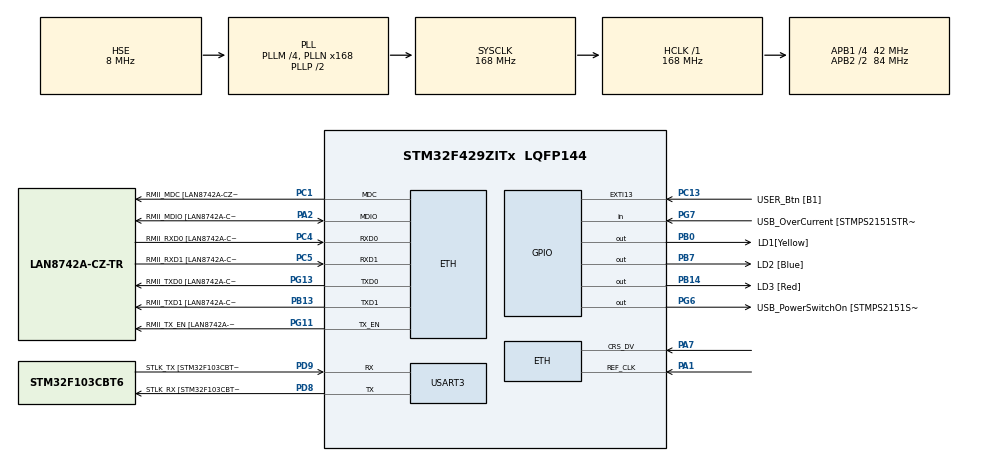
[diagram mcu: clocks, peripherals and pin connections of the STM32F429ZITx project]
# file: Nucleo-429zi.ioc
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ETH.MACAddr=00\:80\:E1\:00\:00\:AA
ETH.MediaInterface=HAL_ETH_RMII_MODE
FREERTOS.Tasks01=defaultTask,24,256,StartDefaultTask,Default,NULL,Dynamic,NULL,NULL;myTask02,8,256,StartTask02,Default,NULL,Dynamic,NULL,NULL
FREERTOS.Timers01=myTimer01,Callback01,osTimerPeriodic,Default,NULL,Dynamic,NULL
FREERTOS.configMINIMAL_STACK_SIZE=256
FREERTOS.configTOTAL_HEAP_SIZE=32768
FREERTOS.configUSE_NEWLIB_REENTRANT=1
LWIP.BSP.number=1
LWIP.CMSIS_VERSION-Enabled=1
LWIP.Version=v2.1.2_Cube
LWIP0.BSP.STBoard=false
LWIP0.BSP.api=BSP_COMPONENT_DRIVER
LWIP0.BSP.component=LAN8742
LWIP0.BSP.instance=LAN8742
LWIP0.BSP.name=Driver_PHY
LWIP0.BSP.semaphore=S_LAN8742
LWIP0.BSP.solution=LAN8742
Mcu.Family=STM32F4
Mcu.Name=STM32F429ZITx
Mcu.Package=LQFP144
NVIC.ETH_IRQn=true\:5\:0\:false\:false\:true\:true\:false\:true\:true
NVIC.PriorityGroup=NVIC_PRIORITYGROUP_4
NVIC.TIM6_DAC_IRQn=true\:15\:0\:false\:false\:true\:false\:false\:true\:true
NVIC.TimeBase=TIM6_DAC_IRQn
NVIC.TimeBaseIP=TIM6
PA1.Mode=RMII
PA1.Signal=ETH_REF_CLK
PA13.GPIO_Label=TMS
PA13.Mode=Trace_Asynchronous_SW
PA13.Signal=SYS_JTMS-SWDIO
PA14.GPIO_Label=TCK
PA14.Mode=Trace_Asynchronous_SW
PA14.Signal=SYS_JTCK-SWCLK
PA2.GPIO_Label=RMII_MDIO [LAN8742A-CZ-TR_MDIO]
PA2.Mode=RMII
PA2.Signal=ETH_MDIO
PA7.Mode=RMII
PA7.Signal=ETH_CRS_DV
PB0.GPIO_Label=LD1[Yellow]
PB0.Signal=GPIO_Output
PB13.GPIO_Label=RMII_TXD1 [LAN8742A-CZ-TR_TXD1]
PB13.Mode=RMII
PB13.Signal=ETH_TXD1
PB14.GPIO_Label=LD3 [Red]
PB14.Signal=GPIO_Output
PB3.Mode=Trace_Asynchronous_SW
PB3.Signal=SYS_JTDO-SWO
PB7.GPIO_Label=LD2 [Blue]
PB7.Signal=GPIO_Output
PC1.GPIO_Label=RMII_MDC [LAN8742A-CZ-TR_MDC]
PC1.Mode=RMII
PC1.Signal=ETH_MDC
PC13.GPIO_Label=USER_Btn [B1]
PC13.Signal=GPXTI13
PC14/OSC32_IN.Mode=LSE-External-Oscillator
PC14/OSC32_IN.Signal=RCC_OSC32_IN
PC15/OSC32_OUT.Mode=LSE-External-Oscillator
PC15/OSC32_OUT.Signal=RCC_OSC32_OUT
PC4.GPIO_Label=RMII_RXD0 [LAN8742A-CZ-TR_RXD0]
PC4.Mode=RMII
PC4.Signal=ETH_RXD0
PC5.GPIO_Label=RMII_RXD1 [LAN8742A-CZ-TR_RXD1]
PC5.Mode=RMII
PC5.Signal=ETH_RXD1
PD8.GPIO_Label=STLK_RX [STM32F103CBT6_PA3]
PD8.Mode=Asynchronous
PD8.Signal=USART3_TX
PD9.GPIO_Label=STLK_TX [STM32F103CBT6_PA2]
PD9.Mode=Asynchronous
PD9.Signal=USART3_RX
PG11.GPIO_Label=RMII_TX_EN [LAN8742A-CZ-TR_TXEN]
PG11.Mode=RMII
PG11.Signal=ETH_TX_EN
PG13.GPIO_Label=RMII_TXD0 [LAN8742A-CZ-TR_TXD0]
PG13.Mode=RMII
PG13.Signal=ETH_TXD0
PG6.GPIO_Label=USB_PowerSwitchOn [STMPS2151STR_EN]
PG6.Signal=GPIO_Output
PG7.GPIO_Label=USB_OverCurrent [STMPS2151STR_FAULT]
PG7.Signal=GPIO_Input
PH0/OSC_IN.GPIO_Label=MCO [STM32F103CBT6_PA8]
PH0/OSC_IN.Mode=HSE-External-Clock-Source
PH0/OSC_IN.Signal=RCC_OSC_IN
PH1/OSC_OUT.Mode=HSE-External-Clock-Source
PH1/OSC_OUT.Signal=RCC_OSC_OUT
ProjectManager.HeapSize=0x200
ProjectManager.StackSize=0x400
ProjectManager.TargetToolchain=STM32CubeIDE
RCC.48MHZClocksFreq_Value=48000000
RCC.AHBFreq_Value=168000000
RCC.APB1CLKDivider=RCC_HCLK_DIV4
RCC.APB1Freq_Value=42000000
RCC.APB1TimFreq_Value=84000000
RCC.APB2CLKDivider=RCC_HCLK_DIV2
RCC.APB2Freq_Value=84000000
RCC.APB2TimCLKDivider=2
RCC.APB2TimFreq_Value=168000000
RCC.CortexFreq_Value=168000000
RCC.HCLKFreq_Value=168000000
RCC.HSE_VALUE=8000000
RCC.HSI_VALUE=16000000
RCC.PLLM=4
RCC.PLLMUL=RCC_PLL_MUL9
RCC.PLLN=168
RCC.PLLQ=7
RCC.PLLSourceVirtual=RCC_PLLSOURCE_HSE
RCC.PRESCALERUSB=RCC_USBCLKSOURCE_PLL_DIV1_5
RCC.SYSCLKFreq_VALUE=168000000
RCC.SYSCLKSource=RCC_SYSCLKSOURCE_PLLCLK
RCC.SYSCLKSourceVirtual=RCC_SYSCLKSOURCE_PLLCLK
RCC.USBFreq_Value=48000000
RCC.VCOOutputFreq_Value=336000000
USART3.VirtualMode=VM_ASYNC
VP_FREERTOS_VS_CMSIS_V2.Mode=CMSIS_V2
VP_LWIP_VS_Enabled.Mode=Enabled
VP_SYS_VS_tim6.Mode=TIM6
board=NUCLEO-F429ZI

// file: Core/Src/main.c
/* USER CODE BEGIN Header */
/**
  ******************************************************************************
  * @file           : main.c
  * @brief          : Main program body
  ******************************************************************************
  * @attention
  *
  * Copyright (c) 2024 STMicroelectronics.
  * All rights reserved.
  *
  * This software is licensed under terms that can be found in the LICENSE file
  * in the root directory of this software component.
  * If no LICENSE file comes with this software, it is provided AS-IS.
  *
  ******************************************************************************
  */
/* USER CODE END Header */
#include "main.h"
#include "cmsis_os.h"
#include "lwip.h"
#include "usart.h"
#include "gpio.h"

/* USER CODE BEGIN Includes */
#include "ethernetif.h"
#include "netif.h"
#include "lwip/icmp.h"
#include <stdio.h>

/* USER CODE END Includes */

/* USER CODE BEGIN PD */
#ifdef __GNUC__
#define PUTCHAR_PROTOTYPE int __io_putchar(int ch)
#else
#define PUTCHAR_PROTOTYPE int fputc(int ch, FILE *f)
#endif

PUTCHAR_PROTOTYPE
{
  HAL_UART_Transmit(&huart3, (uint8_t *)&ch, 1, HAL_MAX_DELAY);
  return ch;
}

/* USER CODE END PD */

void SystemClock_Config(void);
void MX_FREERTOS_Init(void);

/* USER CODE BEGIN 0 */
// Global variable for network interface
extern struct netif gnetif;
/* USER CODE END 0 */

int main(void)
{

  /* MCU Configuration--------------------------------------------------------*/

  /* Reset of all peripherals, Initializes the Flash interface and the Systick. */
  HAL_Init();

  /* Configure the system clock */
  SystemClock_Config();

  /* Initialize all configured peripherals */
  MX_GPIO_Init();
  MX_USART3_UART_Init();

  /* Init scheduler */
  osKernelInitialize();

  /* Call init function for freertos objects (in cmsis_os2.c) */
  MX_FREERTOS_Init();

  /* Start scheduler */
  osKernelStart();

  /* We should never get here as control is now taken by the scheduler */

  /* Infinite loop */
  /* USER CODE BEGIN WHILE */
  while (1)
  {
	  // Turn on LD1 (PB0)
	      //HAL_GPIO_WritePin(GPIOB, LD1_Pin, GPIO_PIN_SET);
//	      HAL_GPIO_WritePin(GPIOB, LD2_Pin, GPIO_PIN_SET);
//	      HAL_GPIO_WritePin(GPIOB, LD3_Pin, GPIO_PIN_SET);
//	      HAL_Delay(500); // Delay for 500 milliseconds
//
//	      // Turn off LD1 (PB0)
//	      //HAL_GPIO_WritePin(GPIOB, LD1_Pin, GPIO_PIN_RESET);
//	      HAL_GPIO_WritePin(GPIOB, LD2_Pin, GPIO_PIN_RESET);
//	      HAL_GPIO_WritePin(GPIOB, LD3_Pin, GPIO_PIN_RESET);
//	      HAL_Delay(500); // Delay for 500 milliseconds

	  //MX_LWIP_Process();
	  //if (dhcp_supplied_address(&gnetif)) {
		  	  	  //HAL_GPIO_WritePin(GPIOB, LD2_Pin, GPIO_PIN_SET);
	              //printf("DHCP IP Address Assigned: %s\n", ip4addr_ntoa(netif_ip4_addr(&gnetif)));
	  //        }

	  //HAL_GPIO_TogglePin(GPIOB, LD1_Pin);
	  //osDelay(500);

    /* USER CODE END WHILE */

  }
}

void SystemClock_Config(void)
{
  RCC_OscInitTypeDef RCC_OscInitStruct = {0};
  RCC_ClkInitTypeDef RCC_ClkInitStruct = {0};

  /** Configure the main internal regulator output voltage
  */
  __HAL_RCC_PWR_CLK_ENABLE();
  __HAL_PWR_VOLTAGESCALING_CONFIG(PWR_REGULATOR_VOLTAGE_SCALE1);

  /** Initializes the RCC Oscillators according to the specified parameters
  * in the RCC_OscInitTypeDef structure.
  */
  RCC_OscInitStruct.OscillatorType = RCC_OSCILLATORTYPE_HSE;
  RCC_OscInitStruct.HSEState = RCC_HSE_BYPASS;
  RCC_OscInitStruct.PLL.PLLState = RCC_PLL_ON;
  RCC_OscInitStruct.PLL.PLLSource = RCC_PLLSOURCE_HSE;
  RCC_OscInitStruct.PLL.PLLM = 4;
  RCC_OscInitStruct.PLL.PLLN = 168;
  RCC_OscInitStruct.PLL.PLLP = RCC_PLLP_DIV2;
  RCC_OscInitStruct.PLL.PLLQ = 7;
  if (HAL_RCC_OscConfig(&RCC_OscInitStruct) != HAL_OK)
  {
    Error_Handler();
  }

  /** Initializes the CPU, AHB and APB buses clocks
  */
  RCC_ClkInitStruct.ClockType = RCC_CLOCKTYPE_HCLK|RCC_CLOCKTYPE_SYSCLK
                              |RCC_CLOCKTYPE_PCLK1|RCC_CLOCKTYPE_PCLK2;
  RCC_ClkInitStruct.SYSCLKSource = RCC_SYSCLKSOURCE_PLLCLK;
  RCC_ClkInitStruct.AHBCLKDivider = RCC_SYSCLK_DIV1;
  RCC_ClkInitStruct.APB1CLKDivider = RCC_HCLK_DIV4;
  RCC_ClkInitStruct.APB2CLKDivider = RCC_HCLK_DIV2;

  if (HAL_RCC_ClockConfig(&RCC_ClkInitStruct, FLASH_LATENCY_5) != HAL_OK)
  {
    Error_Handler();
  }
}

void HAL_TIM_PeriodElapsedCallback(TIM_HandleTypeDef *htim)
{
  if (htim->Instance == TIM6) {
    HAL_IncTick();
  }
}

void Error_Handler(void)
{
  __disable_irq();
  while (1)
  {
  }
}

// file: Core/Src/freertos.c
/* USER CODE BEGIN Header */
/**
  ******************************************************************************
  * File Name          : freertos.c
  * Description        : Code for freertos applications
  ******************************************************************************
  * @attention
  *
  * Copyright (c) 2024 STMicroelectronics.
  * All rights reserved.
  *
  * This software is licensed under terms that can be found in the LICENSE file
  * in the root directory of this software component.
  * If no LICENSE file comes with this software, it is provided AS-IS.
  *
  ******************************************************************************
  */
/* USER CODE END Header */

#include "FreeRTOS.h"
#include "task.h"
#include "main.h"
#include "cmsis_os.h"

/* USER CODE BEGIN Includes */
#include "lwip.h"
#include "usart.h"
#include <stdio.h>
#include "lwip/api.h"
#include "lwip/sys.h"
#include "lwip/netdb.h"
#include "lwip/sockets.h"
#include "lwip/inet.h"
#include "string.h"
extern struct netif gnetif;
/* USER CODE END Includes */

/* USER CODE BEGIN PD */
#define SERVER_IP   "192.168.0.27"  // Replace with your server's IP address
#define SERVER_PORT 6000             // Replace with your server's port
/* USER CODE END PD */

/* Definitions for defaultTask */
osThreadId_t defaultTaskHandle;
const osThreadAttr_t defaultTask_attributes = {
  .name = "defaultTask",
  .stack_size = 256 * 4,
  .priority = (osPriority_t) osPriorityNormal,
};
/* Definitions for myTask02 */
osThreadId_t myTask02Handle;
const osThreadAttr_t myTask02_attributes = {
  .name = "myTask02",
  .stack_size = 256 * 4,
  .priority = (osPriority_t) osPriorityLow,
};
/* Definitions for myTimer01 */
osTimerId_t myTimer01Handle;
const osTimerAttr_t myTimer01_attributes = {
  .name = "myTimer01"
};

/* USER CODE BEGIN FunctionPrototypes */
void tcp_client_task(void* argument);

/* USER CODE END FunctionPrototypes */

void StartDefaultTask(void *argument);
void StartTask02(void *argument);
void Callback01(void *argument);

extern void MX_LWIP_Init(void);
void MX_FREERTOS_Init(void); /* (MISRA C 2004 rule 8.1) */

void MX_FREERTOS_Init(void) {

  /* Create the timer(s) */
  /* creation of myTimer01 */
  myTimer01Handle = osTimerNew(Callback01, osTimerPeriodic, NULL, &myTimer01_attributes);

  /* USER CODE BEGIN RTOS_TIMERS */
  /* start timers, add new ones, ... */
  if (osTimerStart(myTimer01Handle, 1000) != osOK) {
          // Handle error in starting the timer
          printf("Failed to start timer\n");
          return;
      }
  /* USER CODE END RTOS_TIMERS */

  /* Create the thread(s) */
  /* creation of defaultTask */
  defaultTaskHandle = osThreadNew(StartDefaultTask, NULL, &defaultTask_attributes);

  /* creation of myTask02 */
  myTask02Handle = osThreadNew(StartTask02, NULL, &myTask02_attributes);

}

void StartDefaultTask(void *argument)
{
  /* init code for LWIP */
  MX_LWIP_Init();
  /* USER CODE BEGIN StartDefaultTask */
  osDelay(5000);

  printf("before\n");
    //tcp_client_task((void*)argument);

  /* Infinite loop */
  for(;;)
  {
	//ethernetif_input(&gnetif);
	//sys_check_timeouts();
	  HAL_GPIO_TogglePin(GPIOB, LD1_Pin);
	  //printf("StartDefaultTask\n");
	  osDelay(1000);
  }
  /* USER CODE END StartDefaultTask */
}

void StartTask02(void *argument)
{
  /* USER CODE BEGIN StartTask02 */
  /* Infinite loop */
  for(;;)
  {
	  HAL_GPIO_TogglePin(GPIOB, LD2_Pin);
	  osDelay(500);

  }
  /* USER CODE END StartTask02 */
}

/* Callback01 function */
void Callback01(void *argument)
{
  /* USER CODE BEGIN Callback01 */
	HAL_GPIO_TogglePin(LD3_GPIO_Port, LD3_Pin);
  /* USER CODE END Callback01 */
}

/* USER CODE BEGIN Application */
void tcp_client_task(void *arg) {

	int sock;
	    struct sockaddr_in server_addr;
	    char message[] = "Hello from STM32";
	    char buffer[1024];
	    int bytes_received;

	    // Create socket
	    printf("sock = socket\n");
	    sock = socket(AF_INET, SOCK_STREAM, 0);
	    if (sock < 0) {
	        printf("Failed to create socket\n");
	        vTaskDelete(NULL);
	        return;
	    }
	    printf("memset\n");
	    // Set up the server address structure
		memset(&server_addr, 0, sizeof(server_addr));
		server_addr.sin_family = AF_INET;
		server_addr.sin_port = htons(SERVER_PORT);
	    if (!inet_aton(SERVER_IP, &server_addr.sin_addr)) {
	            printf("Invalid IP address\n");
	            lwip_close(sock);
	            return;
	        }

	    // Set up server address
	    //server_addr.sin_family = AF_INET;
	    //server_addr.sin_port = 6000;//htons(SERVER_PORT);
	    //inet_aton(SERVER_IP, &server_addr.sin_addr);

	    // Connect to server
	    if (connect(sock, (struct sockaddr *)&server_addr, sizeof(server_addr)) < 0) {
	        printf("Failed to connect to server : %d\n", errno);
	        close(sock);
	        vTaskDelete(NULL);

	        return;
	    }

	    printf("Connected to server\n");

	    // Send data to server
	    if (send(sock, message, strlen(message), 0) < 0) {
	        printf("Failed to send data\n");
	        close(sock);
	        vTaskDelete(NULL);
	        return;
	    }

	    printf("Data sent successfully\n");

	    // Receive data from server
	    bytes_received = recv(sock, buffer, sizeof(buffer) - 1, 0);
	    if (bytes_received > 0) {
	        buffer[bytes_received] = '\0';  // Null-terminate received data
	        printf("Received from server: %s\n", buffer);
	    } else {
	        printf("Failed to receive data\n");
	    }

	    // Close socket and clean up
	    close(sock);

	    vTaskDelete(NULL);  // Delete task after completion
}
/* USER CODE END Application */
